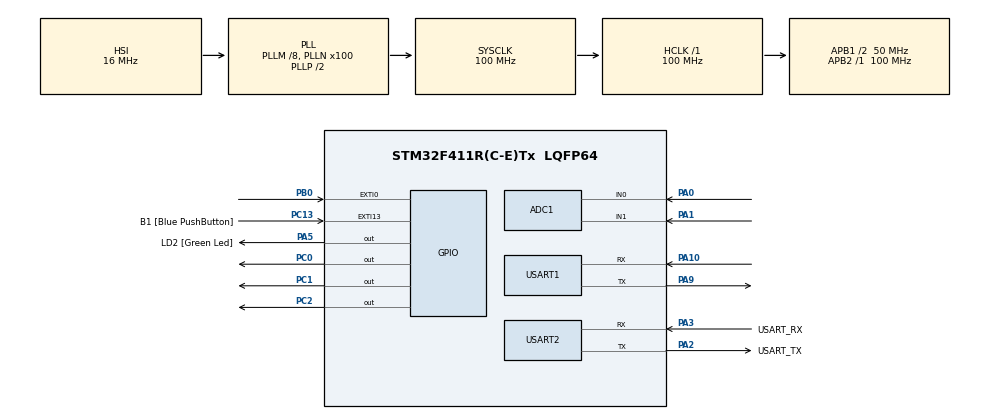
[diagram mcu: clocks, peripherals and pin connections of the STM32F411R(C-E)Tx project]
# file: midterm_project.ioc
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ADC1.Channel-0\#ChannelRegularConversion=ADC_CHANNEL_0
ADC1.Channel-1\#ChannelRegularConversion=ADC_CHANNEL_1
ADC1.ContinuousConvMode=ENABLE
ADC1.DMAContinuousRequests=ENABLE
ADC1.EOCSelection=ADC_EOC_SEQ_CONV
ADC1.NbrOfConversion=2
ADC1.NbrOfConversionFlag=1
ADC1.Rank-0\#ChannelRegularConversion=1
ADC1.Rank-1\#ChannelRegularConversion=2
ADC1.SamplingTime-0\#ChannelRegularConversion=ADC_SAMPLETIME_480CYCLES
ADC1.SamplingTime-1\#ChannelRegularConversion=ADC_SAMPLETIME_480CYCLES
ADC1.ScanConvMode=ENABLE
ADC1.master=1
Dma.ADC1.0.Direction=DMA_PERIPH_TO_MEMORY
Dma.ADC1.0.FIFOMode=DMA_FIFOMODE_DISABLE
Dma.ADC1.0.Instance=DMA2_Stream0
Dma.ADC1.0.MemDataAlignment=DMA_MDATAALIGN_HALFWORD
Dma.ADC1.0.MemInc=DMA_MINC_ENABLE
Dma.ADC1.0.Mode=DMA_CIRCULAR
Dma.ADC1.0.PeriphDataAlignment=DMA_PDATAALIGN_HALFWORD
Dma.ADC1.0.PeriphInc=DMA_PINC_DISABLE
Dma.ADC1.0.Priority=DMA_PRIORITY_LOW
Dma.Request0=ADC1
Mcu.Family=STM32F4
Mcu.Name=STM32F411R(C-E)Tx
Mcu.Package=LQFP64
NVIC.DMA2_Stream0_IRQn=true\:0\:0\:false\:false\:true\:false\:true\:true
NVIC.EXTI0_IRQn=true\:0\:0\:false\:false\:true\:true\:true\:true
NVIC.PriorityGroup=NVIC_PRIORITYGROUP_4
PA0-WKUP.Signal=ADCx_IN0
PA1.Signal=ADCx_IN1
PA10.Mode=Asynchronous
PA10.Signal=USART1_RX
PA13.GPIO_Label=TMS
PA13.Mode=Serial_Wire
PA13.Signal=SYS_JTMS-SWDIO
PA14.GPIO_Label=TCK
PA14.Mode=Serial_Wire
PA14.Signal=SYS_JTCK-SWCLK
PA2.GPIO_Label=USART_TX
PA2.Mode=Asynchronous
PA2.Signal=USART2_TX
PA3.GPIO_Label=USART_RX
PA3.Mode=Asynchronous
PA3.Signal=USART2_RX
PA5.GPIO_Label=LD2 [Green Led]
PA5.Signal=GPIO_Output
PA9.Mode=Asynchronous
PA9.Signal=USART1_TX
PB0.Signal=GPXTI0
PB3.GPIO_Label=SWO
PB3.Signal=SYS_JTDO-SWO
PC0.Signal=GPIO_Output
PC1.Signal=GPIO_Output
PC13-ANTI_TAMP.GPIO_Label=B1 [Blue PushButton]
PC13-ANTI_TAMP.GPIO_ModeDefaultEXTI=GPIO_MODE_IT_FALLING
PC13-ANTI_TAMP.Signal=GPXTI13
PC14-OSC32_IN.Mode=LSE-External-Oscillator
PC14-OSC32_IN.Signal=RCC_OSC32_IN
PC15-OSC32_OUT.Mode=LSE-External-Oscillator
PC15-OSC32_OUT.Signal=RCC_OSC32_OUT
PC2.Signal=GPIO_Output
PH0\ -\ OSC_IN.Mode=HSE-External-Clock-Source
PH0\ -\ OSC_IN.Signal=RCC_OSC_IN
PH1\ -\ OSC_OUT.Mode=HSE-External-Clock-Source
PH1\ -\ OSC_OUT.Signal=RCC_OSC_OUT
ProjectManager.HeapSize=0x200
ProjectManager.StackSize=0x400
ProjectManager.TargetToolchain=STM32CubeIDE
RCC.48MHZClocksFreq_Value=50000000
RCC.AHBFreq_Value=100000000
RCC.APB1CLKDivider=RCC_HCLK_DIV2
RCC.APB1Freq_Value=50000000
RCC.APB1TimFreq_Value=100000000
RCC.APB2Freq_Value=100000000
RCC.APB2TimFreq_Value=100000000
RCC.CortexFreq_Value=100000000
RCC.FLatency-AdvancedSettings=FLASH_LATENCY_3
RCC.HCLKFreq_Value=100000000
RCC.HSE_VALUE=8000000
RCC.HSI_VALUE=16000000
RCC.PLLM=8
RCC.PLLN=100
RCC.SYSCLKFreq_VALUE=100000000
RCC.SYSCLKSource=RCC_SYSCLKSOURCE_PLLCLK
RCC.VCOOutputFreq_Value=200000000
SH.ADCx_IN0.0=ADC1_IN0,IN0
SH.ADCx_IN1.0=ADC1_IN1,IN1
USART1.VirtualMode=VM_ASYNC
USART2.VirtualMode=VM_ASYNC
board=NUCLEO-F411RE

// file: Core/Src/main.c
/* USER CODE BEGIN Header */
/**
 ******************************************************************************
 * @file           : main.c
 * @brief          : Main program body
 ******************************************************************************
 * @attention
 *
 * Copyright (c) 2022 STMicroelectronics.
 * All rights reserved.
 *
 * This software is licensed under terms that can be found in the LICENSE file
 * in the root directory of this software component.
 * If no LICENSE file comes with this software, it is provided AS-IS.
 *
 ******************************************************************************
 */
/* USER CODE END Header */
#include "main.h"

/* USER CODE BEGIN PTD */
float Flow;
char bufferFlow[20];
/* USER CODE END PTD */

ADC_HandleTypeDef hadc1;
DMA_HandleTypeDef hdma_adc1;

UART_HandleTypeDef huart1;
UART_HandleTypeDef huart2;

void SystemClock_Config(void);
static void MX_GPIO_Init(void);
static void MX_DMA_Init(void);
static void MX_USART2_UART_Init(void);
static void MX_ADC1_Init(void);
static void MX_USART1_UART_Init(void);

/* USER CODE BEGIN 0 */
//void ADC_Select_CH0 (void)
//{
//	ADC_ChannelConfTypeDef sConfig = {0};
//	  /** Configure for the selected ADC regular channel its corresponding rank in the sequencer and its sample time.
//	  */
//	  sConfig.Channel = ADC_CHANNEL_0;
//	  sConfig.Rank = 1;
//	  sConfig.SamplingTime = ADC_SAMPLETIME_28CYCLES;
//	  if (HAL_ADC_ConfigChannel(&hadc1, &sConfig) != HAL_OK)
//	  {
//	    Error_Handler();
//	  }
//}
//
//void ADC_Select_CH1 (void)
//{
//	ADC_ChannelConfTypeDef sConfig = {0};
//	  /** Configure for the selected ADC regular channel its corresponding rank in the sequencer and its sample time.
//	  */
//	  sConfig.Channel = ADC_CHANNEL_1;
//	  sConfig.Rank = 1;
//	  sConfig.SamplingTime = ADC_SAMPLETIME_84CYCLES;
//	  if (HAL_ADC_ConfigChannel(&hadc1, &sConfig) != HAL_OK)
//	  {
//	    Error_Handler();
//	  }
//}
unsigned short ADC_VAL[3];
/* USER CODE END 0 */

int main(void)
{

  /* MCU Configuration--------------------------------------------------------*/

  /* Reset of all peripherals, Initializes the Flash interface and the Systick. */
  HAL_Init();

  /* Configure the system clock */
  SystemClock_Config();

  /* Initialize all configured peripherals */
  MX_GPIO_Init();
  MX_DMA_Init();
  MX_USART2_UART_Init();
  MX_ADC1_Init();
  MX_USART1_UART_Init();
  /* USER CODE BEGIN 2 */
  char buf[256];
  int ret;

  int state = 0;
  HAL_ADC_Start_DMA(&hadc1, &ADC_VAL, 2);

  /* USER CODE END 2 */

  /* Infinite loop */
  /* USER CODE BEGIN WHILE */
	while (1) {
		HAL_GPIO_WritePin(GPIOA, GPIO_PIN_5, GPIO_PIN_SET);
//		HAL_GPIO_WritePin(GPIOC, GPIO_PIN_0, GPIO_PIN_SET);
		// char ch;
		//water sensor1
		//PA0
/*		int water_sensor_1 = ADC_VAL[0];
		sprintf(buf, "water sensor 1: %d\n\r", water_sensor_1);
		HAL_UART_Transmit(&huart2, buf, strlen(buf), 1000);
		if (water_sensor_1 < 2500){
			//set water pump off
			HAL_GPIO_WritePin(GPIOC, GPIO_PIN_2, GPIO_PIN_RESET);
			HAL_GPIO_WritePin(GPIOC, GPIO_PIN_1, GPIO_PIN_RESET);
		}

		//water sensor2
		//PA1
		int water_sensor_2 = ADC_VAL[1];
		sprintf(buf, "water sensor 2: %d\n\r", water_sensor_2);
		HAL_UART_Transmit(&huart2, buf, strlen(buf), 1000);
		if (water_sensor_2 >= 2500){
			//set water pump on
			HAL_GPIO_WritePin(GPIOC, GPIO_PIN_2, GPIO_PIN_SET);
		}
		old code */

		//new code
		//water sensor2
		//PA1
		int water_sensor_2 = ADC_VAL[1];
		sprintf(buf, "water sensor 2: %d\n\r", water_sensor_2);
		HAL_UART_Transmit(&huart2, buf, strlen(buf), 1000);

		//water sensor1
		//PA0
		int water_sensor_1 = ADC_VAL[0];
		sprintf(buf, "water sensor 1: %d\n\r", water_sensor_1);
		HAL_UART_Transmit(&huart2, buf, strlen(buf), 1000);

		if (water_sensor_2 >= 2500){
			//set water pump on
			HAL_GPIO_WritePin(GPIOC, GPIO_PIN_2, GPIO_PIN_SET);
		}
		else {
			if (water_sensor_1 < 2500){
			//set water pump off
			HAL_GPIO_WritePin(GPIOC, GPIO_PIN_2, GPIO_PIN_RESET);
			HAL_GPIO_WritePin(GPIOC, GPIO_PIN_1, GPIO_PIN_RESET);
			}
		}

		//water flow
		sprintf(bufferFlow, "water flow: %2.1f\n\r", Flow);
		HAL_UART_Transmit(&huart2, bufferFlow, strlen(bufferFlow), 1000);
		int open = 1;
		//max 1200
//		if (open == 1){
//		if (Flow > 600 && Flow <= 900){
//			//set led on
//			HAL_GPIO_WritePin(GPIOC, GPIO_PIN_0, GPIO_PIN_SET);
//			//set buzzer off
//			HAL_GPIO_WritePin(GPIOC, GPIO_PIN_1, GPIO_PIN_RESET);
//		}else if (Flow  <= 600 && Flow > 300){
//			//set buzzer on
//			HAL_GPIO_WritePin(GPIOC, GPIO_PIN_1, GPIO_PIN_SET);
//			//set led off
//			HAL_GPIO_WritePin(GPIOC, GPIO_PIN_0, GPIO_PIN_RESET);
//		}else if (Flow <= 300){
//			//set buzzer on
//			HAL_GPIO_WritePin(GPIOC, GPIO_PIN_1, GPIO_PIN_SET);
//			//set led on
//			HAL_GPIO_WritePin(GPIOC, GPIO_PIN_0, GPIO_PIN_SET);
//		}else{
//			//set led off
//			HAL_GPIO_WritePin(GPIOC, GPIO_PIN_0, GPIO_PIN_RESET);
//			//set buzzer off
//			HAL_GPIO_WritePin(GPIOC, GPIO_PIN_1, GPIO_PIN_RESET);
//		}
//		}
		//new one
		//HAL_GPIO_WritePin(GPIOC, GPIO_PIN_0, GPIO_PIN_SET);
		//HAL_GPIO_WritePin(GPIOC, GPIO_PIN_1, GPIO_PIN_SET);

		if (Flow<10){
			//set buzzer on
			HAL_GPIO_WritePin(GPIOC, GPIO_PIN_1, GPIO_PIN_SET);
			//set led on
			HAL_GPIO_WritePin(GPIOC, GPIO_PIN_0, GPIO_PIN_SET);
		}else{
			//set buzzer off
			HAL_GPIO_WritePin(GPIOC, GPIO_PIN_1, GPIO_PIN_RESET);
			//set led off
			HAL_GPIO_WritePin(GPIOC, GPIO_PIN_0, GPIO_PIN_RESET);
		}
		HAL_Delay(1000);
    /* USER CODE END WHILE */

	}
}

void SystemClock_Config(void)
{
  RCC_OscInitTypeDef RCC_OscInitStruct = {0};
  RCC_ClkInitTypeDef RCC_ClkInitStruct = {0};

  /** Configure the main internal regulator output voltage
  */
  __HAL_RCC_PWR_CLK_ENABLE();
  __HAL_PWR_VOLTAGESCALING_CONFIG(PWR_REGULATOR_VOLTAGE_SCALE1);

  /** Initializes the RCC Oscillators according to the specified parameters
  * in the RCC_OscInitTypeDef structure.
  */
  RCC_OscInitStruct.OscillatorType = RCC_OSCILLATORTYPE_HSI;
  RCC_OscInitStruct.HSIState = RCC_HSI_ON;
  RCC_OscInitStruct.HSICalibrationValue = RCC_HSICALIBRATION_DEFAULT;
  RCC_OscInitStruct.PLL.PLLState = RCC_PLL_ON;
  RCC_OscInitStruct.PLL.PLLSource = RCC_PLLSOURCE_HSI;
  RCC_OscInitStruct.PLL.PLLM = 8;
  RCC_OscInitStruct.PLL.PLLN = 100;
  RCC_OscInitStruct.PLL.PLLP = RCC_PLLP_DIV2;
  RCC_OscInitStruct.PLL.PLLQ = 4;
  if (HAL_RCC_OscConfig(&RCC_OscInitStruct) != HAL_OK)
  {
    Error_Handler();
  }

  /** Initializes the CPU, AHB and APB buses clocks
  */
  RCC_ClkInitStruct.ClockType = RCC_CLOCKTYPE_HCLK|RCC_CLOCKTYPE_SYSCLK
                              |RCC_CLOCKTYPE_PCLK1|RCC_CLOCKTYPE_PCLK2;
  RCC_ClkInitStruct.SYSCLKSource = RCC_SYSCLKSOURCE_PLLCLK;
  RCC_ClkInitStruct.AHBCLKDivider = RCC_SYSCLK_DIV1;
  RCC_ClkInitStruct.APB1CLKDivider = RCC_HCLK_DIV2;
  RCC_ClkInitStruct.APB2CLKDivider = RCC_HCLK_DIV1;

  if (HAL_RCC_ClockConfig(&RCC_ClkInitStruct, FLASH_LATENCY_3) != HAL_OK)
  {
    Error_Handler();
  }
}

static void MX_ADC1_Init(void)
{

  ADC_ChannelConfTypeDef sConfig = {0};

  /** Configure the global features of the ADC (Clock, Resolution, Data Alignment and number of conversion)
  */
  hadc1.Instance = ADC1;
  hadc1.Init.ClockPrescaler = ADC_CLOCK_SYNC_PCLK_DIV4;
  hadc1.Init.Resolution = ADC_RESOLUTION_12B;
  hadc1.Init.ScanConvMode = ENABLE;
  hadc1.Init.ContinuousConvMode = ENABLE;
  hadc1.Init.DiscontinuousConvMode = DISABLE;
  hadc1.Init.ExternalTrigConvEdge = ADC_EXTERNALTRIGCONVEDGE_NONE;
  hadc1.Init.ExternalTrigConv = ADC_SOFTWARE_START;
  hadc1.Init.DataAlign = ADC_DATAALIGN_RIGHT;
  hadc1.Init.NbrOfConversion = 2;
  hadc1.Init.DMAContinuousRequests = ENABLE;
  hadc1.Init.EOCSelection = ADC_EOC_SEQ_CONV;
  if (HAL_ADC_Init(&hadc1) != HAL_OK)
  {
    Error_Handler();
  }

  /** Configure for the selected ADC regular channel its corresponding rank in the sequencer and its sample time.
  */
  sConfig.Channel = ADC_CHANNEL_0;
  sConfig.Rank = 1;
  sConfig.SamplingTime = ADC_SAMPLETIME_480CYCLES;
  if (HAL_ADC_ConfigChannel(&hadc1, &sConfig) != HAL_OK)
  {
    Error_Handler();
  }

  /** Configure for the selected ADC regular channel its corresponding rank in the sequencer and its sample time.
  */
  sConfig.Channel = ADC_CHANNEL_1;
  sConfig.Rank = 2;
  if (HAL_ADC_ConfigChannel(&hadc1, &sConfig) != HAL_OK)
  {
    Error_Handler();
  }

}

static void MX_USART1_UART_Init(void)
{

  huart1.Instance = USART1;
  huart1.Init.BaudRate = 115200;
  huart1.Init.WordLength = UART_WORDLENGTH_8B;
  huart1.Init.StopBits = UART_STOPBITS_1;
  huart1.Init.Parity = UART_PARITY_NONE;
  huart1.Init.Mode = UART_MODE_TX_RX;
  huart1.Init.HwFlowCtl = UART_HWCONTROL_NONE;
  huart1.Init.OverSampling = UART_OVERSAMPLING_16;
  if (HAL_UART_Init(&huart1) != HAL_OK)
  {
    Error_Handler();
  }

}

static void MX_USART2_UART_Init(void)
{

  huart2.Instance = USART2;
  huart2.Init.BaudRate = 115200;
  huart2.Init.WordLength = UART_WORDLENGTH_8B;
  huart2.Init.StopBits = UART_STOPBITS_1;
  huart2.Init.Parity = UART_PARITY_NONE;
  huart2.Init.Mode = UART_MODE_TX_RX;
  huart2.Init.HwFlowCtl = UART_HWCONTROL_NONE;
  huart2.Init.OverSampling = UART_OVERSAMPLING_16;
  if (HAL_UART_Init(&huart2) != HAL_OK)
  {
    Error_Handler();
  }

}

static void MX_DMA_Init(void)
{

  /* DMA controller clock enable */
  __HAL_RCC_DMA2_CLK_ENABLE();

  /* DMA interrupt init */
  /* DMA2_Stream0_IRQn interrupt configuration */
  HAL_NVIC_SetPriority(DMA2_Stream0_IRQn, 0, 0);
  HAL_NVIC_EnableIRQ(DMA2_Stream0_IRQn);

}

static void MX_GPIO_Init(void)
{
  GPIO_InitTypeDef GPIO_InitStruct = {0};

  /* GPIO Ports Clock Enable */
  __HAL_RCC_GPIOC_CLK_ENABLE();
  __HAL_RCC_GPIOH_CLK_ENABLE();
  __HAL_RCC_GPIOA_CLK_ENABLE();
  __HAL_RCC_GPIOB_CLK_ENABLE();

  /*Configure GPIO pin Output Level */
  HAL_GPIO_WritePin(GPIOC, GPIO_PIN_0|GPIO_PIN_1|GPIO_PIN_2, GPIO_PIN_RESET);

  /*Configure GPIO pin Output Level */
  HAL_GPIO_WritePin(LD2_GPIO_Port, LD2_Pin, GPIO_PIN_RESET);

  /*Configure GPIO pin : B1_Pin */
  GPIO_InitStruct.Pin = B1_Pin;
  GPIO_InitStruct.Mode = GPIO_MODE_IT_FALLING;
  GPIO_InitStruct.Pull = GPIO_NOPULL;
  HAL_GPIO_Init(B1_GPIO_Port, &GPIO_InitStruct);

  /*Configure GPIO pins : PC0 PC1 PC2 */
  GPIO_InitStruct.Pin = GPIO_PIN_0|GPIO_PIN_1|GPIO_PIN_2;
  GPIO_InitStruct.Mode = GPIO_MODE_OUTPUT_PP;
  GPIO_InitStruct.Pull = GPIO_NOPULL;
  GPIO_InitStruct.Speed = GPIO_SPEED_FREQ_LOW;
  HAL_GPIO_Init(GPIOC, &GPIO_InitStruct);

  /*Configure GPIO pin : LD2_Pin */
  GPIO_InitStruct.Pin = LD2_Pin;
  GPIO_InitStruct.Mode = GPIO_MODE_OUTPUT_PP;
  GPIO_InitStruct.Pull = GPIO_NOPULL;
  GPIO_InitStruct.Speed = GPIO_SPEED_FREQ_LOW;
  HAL_GPIO_Init(LD2_GPIO_Port, &GPIO_InitStruct);

  /*Configure GPIO pin : PB0 */
  GPIO_InitStruct.Pin = GPIO_PIN_0;
  GPIO_InitStruct.Mode = GPIO_MODE_IT_RISING;
  GPIO_InitStruct.Pull = GPIO_NOPULL;
  HAL_GPIO_Init(GPIOB, &GPIO_InitStruct);

  /* EXTI interrupt init*/
  HAL_NVIC_SetPriority(EXTI0_IRQn, 0, 0);
  HAL_NVIC_EnableIRQ(EXTI0_IRQn);

}

void Error_Handler(void)
{
	__disable_irq();
	while (1) {
	}
}
